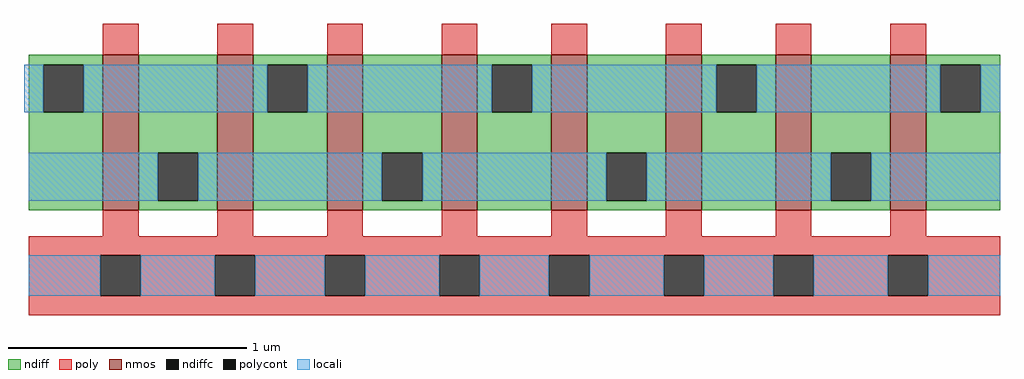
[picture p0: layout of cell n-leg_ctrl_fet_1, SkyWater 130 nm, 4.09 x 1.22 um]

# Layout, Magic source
magic
tech sky130A
magscale 1 2
<< nmos >>
rect -63 -65 -33 65
rect 33 -65 63 65
rect 125 -65 155 65
rect 221 -65 251 65
rect 313 -65 343 65
rect 409 -65 439 65
rect 501 -65 531 65
rect 597 -65 627 65
<< ndiff >>
rect -125 57 -63 65
rect -125 17 -113 57
rect -79 17 -63 57
rect -125 -65 -63 17
rect -33 -17 33 65
rect -33 -57 -17 -17
rect 17 -57 33 -17
rect -33 -65 33 -57
rect 63 57 125 65
rect 63 17 75 57
rect 109 17 125 57
rect 63 -65 125 17
rect 155 -17 221 65
rect 155 -57 171 -17
rect 205 -57 221 -17
rect 155 -65 221 -57
rect 251 57 313 65
rect 251 17 263 57
rect 297 17 313 57
rect 251 -65 313 17
rect 343 -17 409 65
rect 343 -57 359 -17
rect 393 -57 409 -17
rect 343 -65 409 -57
rect 439 57 501 65
rect 439 17 451 57
rect 485 17 501 57
rect 439 -65 501 17
rect 531 -17 597 65
rect 531 -57 547 -17
rect 581 -57 597 -17
rect 531 -65 597 -57
rect 627 57 689 65
rect 627 17 639 57
rect 673 17 689 57
rect 627 -65 689 17
<< ndiffc >>
rect -113 17 -79 57
rect -17 -57 17 -17
rect 75 17 109 57
rect 171 -57 205 -17
rect 263 17 297 57
rect 359 -57 393 -17
rect 451 17 485 57
rect 547 -57 581 -17
rect 639 17 673 57
<< poly >>
rect -63 65 -33 91
rect 33 65 63 91
rect 125 65 155 91
rect 221 65 251 91
rect 313 65 343 91
rect 409 65 439 91
rect 501 65 531 91
rect 597 65 627 91
rect -63 -87 -33 -65
rect 33 -87 63 -65
rect 125 -87 155 -65
rect 221 -87 251 -65
rect 313 -87 343 -65
rect 409 -87 439 -65
rect 501 -87 531 -65
rect 597 -87 627 -65
rect -125 -103 689 -87
rect -125 -137 -65 -103
rect -31 -137 31 -103
rect 65 -137 123 -103
rect 157 -137 219 -103
rect 253 -137 311 -103
rect 345 -137 407 -103
rect 441 -137 499 -103
rect 533 -137 595 -103
rect 629 -137 689 -103
rect -125 -153 689 -137
<< polycont >>
rect -65 -137 -31 -103
rect 31 -137 65 -103
rect 123 -137 157 -103
rect 219 -137 253 -103
rect 311 -137 345 -103
rect 407 -137 441 -103
rect 499 -137 533 -103
rect 595 -137 629 -103
<< locali >>
rect -129 17 -113 57
rect -79 17 75 57
rect 109 17 263 57
rect 297 17 451 57
rect 485 17 639 57
rect 673 17 689 57
rect -125 -57 -17 -17
rect 17 -57 171 -17
rect 205 -57 359 -17
rect 393 -57 547 -17
rect 581 -57 689 -17
rect -125 -137 -65 -103
rect -31 -137 31 -103
rect 65 -137 123 -103
rect 157 -137 219 -103
rect 253 -137 311 -103
rect 345 -137 407 -103
rect 441 -137 499 -103
rect 533 -137 595 -103
rect 629 -137 689 -103
<< properties >>
string gencell sky130_fd_pr__nfet_01v8
string library sky130
string parameters w 0.650 l 0.150 m 1 nf 2 diffcov 25 polycov 100 guard 0 glc 0 grc 0 gtc 0 gbc 0 tbcov 100 rlcov 100 topc 0 botc 0 poverlap 1 doverlap 1 lmin 0.15 wmin 0.42 compatible {sky130_fd_pr__nfet_01v8 sky130_fd_pr__nfet_01v8_lvt  sky130_fd_bs_flash__special_sonosfet_star  sky130_fd_pr__nfet_g5v0d10v5 sky130_fd_pr__nfet_05v0_nvt  sky130_fd_pr__nfet_03v3_nvt} full_metal 0 viasrc 0 viadrn 0 viagate 0 viagb 0 viagr 0 viagl 0 viagt 0
<< end >>
